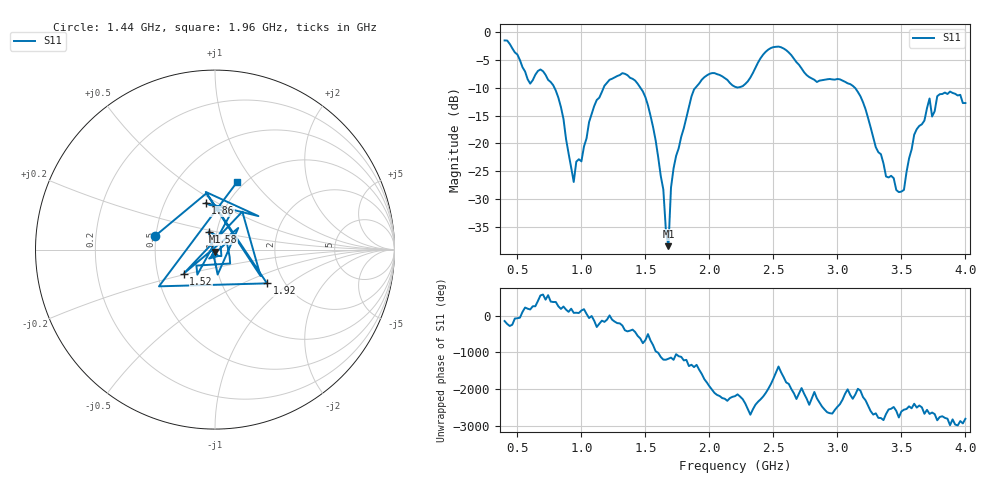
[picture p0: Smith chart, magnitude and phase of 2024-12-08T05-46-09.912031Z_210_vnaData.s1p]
!Created with skrf (http://scikit-rf.org).
# Hz S RI R 50.0
!freq ReS11 ImS11
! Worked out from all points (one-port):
!   181 points, 400 MHz to 4 GHz, reference 50 ohm
!   lowest |S11| = -38.5 dB at 1.68 GHz (marker M1), VSWR 1.02, Z = 49.9 - j1.18 ohm
!   |S11| at or under -10 dB: 789.4 MHz to 1.174 GHz (384.2 MHz wide, 39.1 % of centre); 1.461 GHz to 1.891 GHz (430.3 MHz wide, 25.7 % of centre); 3.137 GHz to end of sweep
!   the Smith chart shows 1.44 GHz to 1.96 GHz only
!   S11 on the Smith chart (normalised r, x): 1.44 GHz: 0.49, +0.08; 1.52 GHz: 0.68, -0.19; 1.58 GHz: 0.91, +0.19; 1.86 GHz: 0.79, +0.44; 1.92 GHz: 1.63, -0.70; 1.96 GHz: 0.93, +0.82
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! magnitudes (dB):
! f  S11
! 400 MHz  -1.5
! 600 MHz  -9.3
! 700 MHz  -7.0
! 860 MHz  -15.6
! 940 MHz  -27.0
! 1.12 GHz  -12.2
! 1.3 GHz  -7.7
! 1.44 GHz  -9.3
! 1.52 GHz  -13.2
! 1.58 GHz  -19.5
! 1.64 GHz  -28.3
! 1.68 GHz  -38.5
! 1.7 GHz  -28.0
! 1.76 GHz  -20.9
! 1.86 GHz  -11.6
! 1.92 GHz  -9.2
! 1.96 GHz  -8.1
! 2.2 GHz  -9.8
! 2.48 GHz  -2.8
! 2.66 GHz  -4.7
! 3.1 GHz  -9.3
! 3.46 GHz  -28.4
! 3.52 GHz  -28.4
! 3.56 GHz  -22.7
! 3.72 GHz  -11.9
! 3.74 GHz  -15.2
! 3.8 GHz  -11.2
! 4 GHz  -12.7
